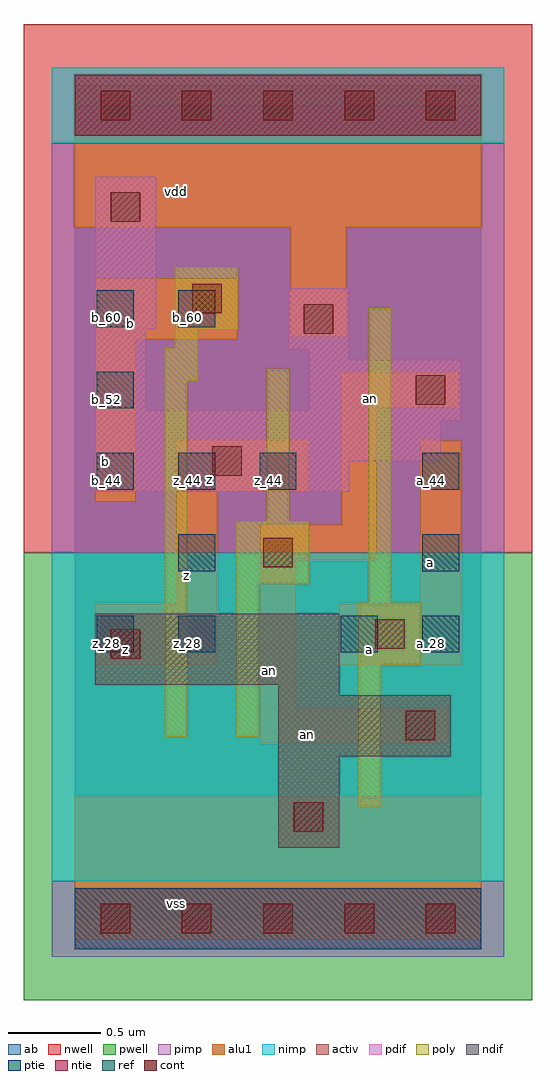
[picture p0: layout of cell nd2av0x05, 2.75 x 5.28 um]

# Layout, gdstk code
import gdstk
lib = gdstk.Library(unit=1e-6, precision=2.5e-09)
def R(c, l, rs):  # rectangles x0, y0, x1, y1
    for r in rs: c.add(gdstk.rectangle(r[:2], r[2:], *l))
def A(c, l, x, y, w, h, nx, ny, dx, dy):  # array of equal rectangles
    R(c, l, [(x+i*dx, y+j*dy, x+i*dx+w, y+j*dy+h) for i in range(nx) for j in range(ny)])
ndif = (3, 0)
pdif = (4, 0)
ntie = (5, 0)
ptie = (6, 0)
ref = (24, 0)
cont = (25, 0)
pwell = (41, 0)
nwell = (42, 0)
activ = (43, 0)
pimp = (44, 0)
nimp = (45, 0)
poly = (46, 0)
alu1 = (49, 0)
ab = (63, 0)

nd2av0x05 = lib.new_cell('nd2av0x05')
R(nd2av0x05, ndif, [(1.1,0.385,1.43,0.88), (1.1,0.88,2.035,1.21), (1.1,1.21,1.43,1.265), (0.11,1.265,1.43,1.65)])
R(nd2av0x05, pdif, [(0.11,2.31,1.485,2.475), (0.11,2.475,1.98,2.695), (0.11,2.695,2.09,2.75), (0.11,2.75,0.385,3.19), (1.265,2.75,2.09,3.025), (1.265,3.025,1.485,3.08), (1.155,3.08,1.485,3.41), (0.11,3.19,0.44,4.015)])
R(nd2av0x05, ntie, [(0,4.235,2.2,4.565)])
R(nd2av0x05, ptie, [(0,-0.165,2.2,0.165)])
A(nd2av0x05, ref, 1.88, 1.44, 0.2, 0.2, 1, 3, 0, 0.44)
A(nd2av0x05, ref, 0.12, 2.32, 0.2, 0.2, 3, 1, 0.44, 0)
R(nd2av0x05, ref, [(0.12,1.44,0.32,1.64), (0.56,1.44,0.76,1.64), (1.44,1.44,1.64,1.64), (0.56,1.88,0.76,2.08), (0.12,2.76,0.32,2.96), (0.12,3.2,0.32,3.4), (0.56,3.2,0.76,3.4)])
A(nd2av0x05, cont, 0.14, -0.08, 0.16, 0.16, 5, 2, 0.44, 4.4)
R(nd2av0x05, cont, [(1.185,0.47,1.345,0.63), (1.79,0.965,1.95,1.125), (0.195,1.405,0.355,1.565), (1.625,1.46,1.785,1.62), (1.02,1.9,1.18,2.06), (0.745,2.395,0.905,2.555), (1.845,2.78,2.005,2.94), (1.24,3.165,1.4,3.325), (0.635,3.275,0.795,3.435), (0.195,3.77,0.355,3.93)])
R(nd2av0x05, pwell, [(-0.275,-0.44,2.475,1.98)])
R(nd2av0x05, nwell, [(-0.275,1.98,2.475,4.84)])
R(nd2av0x05, activ, [(0,-0.165,2.2,0.165), (1.1,0.385,1.43,0.88), (1.1,0.88,2.035,1.21), (1.1,1.21,1.43,1.265), (0.11,1.265,1.43,1.65), (0.11,2.31,1.485,2.475), (0.11,2.475,1.98,2.695), (0.11,2.695,2.09,2.75), (0.11,2.75,0.385,3.19), (1.265,2.75,2.09,3.025), (1.265,3.025,1.485,3.08), (1.155,3.08,1.485,3.41), (0.11,3.19,0.44,4.015), (0,4.235,2.2,4.565)])
R(nd2av0x05, pimp, [(-0.125,-0.205,2.325,0.205), (-0.125,1.98,2.325,4.195)])
R(nd2av0x05, nimp, [(-0.125,0.205,2.325,1.98), (-0.125,4.195,2.325,4.605)])
R(nd2av0x05, poly, [(1.535,0.6,1.655,1.37), (0.49,0.985,0.61,2.91), (0.875,0.985,0.995,1.81), (1.535,1.37,1.875,1.71), (1.59,1.71,1.71,3.305), (0.875,1.81,1.27,2.15), (1.04,2.15,1.16,2.975), (0.49,2.91,0.665,3.085), (0.545,3.085,0.665,3.185), (0.545,3.185,0.885,3.525)])
R(nd2av0x05, alu1, [(0,-0.11,2.2,0.66), (1.005,0.95,2.02,1.14), (1.005,1.14,1.195,1.94), (0.11,1.375,0.77,1.705), (1.43,1.375,2.09,1.705), (0.55,1.705,0.77,2.31), (1.87,1.705,2.09,2.585), (1.005,1.94,1.635,2.13), (1.445,2.13,1.635,2.765), (0.11,2.255,0.33,3.135), (0.55,2.31,1.265,2.585), (1.445,2.765,2.075,2.955), (0.11,3.135,0.88,3.465), (1.17,3.15,1.47,3.74), (0,3.74,2.2,4.51)])
R(nd2av0x05, ab, [(0,0,2.2,4.4)])
nd2av0x05.add(gdstk.Label('vss', (0.55,0.0825), layer=49, texttype=0))
nd2av0x05.add(gdstk.Label('an', (1.2575,0.9975), layer=49, texttype=0))
nd2av0x05.add(gdstk.Label('a', (1.595,1.4575), layer=49, texttype=0))
nd2av0x05.add(gdstk.Label('a', (1.925,1.925), layer=49, texttype=0))
nd2av0x05.add(gdstk.Label('an', (1.0525,1.34), layer=49, texttype=0))
nd2av0x05.add(gdstk.Label('z', (0.275,1.4575), layer=49, texttype=0))
nd2av0x05.add(gdstk.Label('z', (0.605,1.855), layer=49, texttype=0))
nd2av0x05.add(gdstk.Label('z', (0.7275,2.3775), layer=49, texttype=0))
nd2av0x05.add(gdstk.Label('an', (1.6025,2.8125), layer=49, texttype=0))
nd2av0x05.add(gdstk.Label('b', (0.165,2.475), layer=49, texttype=0))
nd2av0x05.add(gdstk.Label('b', (0.3025,3.2175), layer=49, texttype=0))
nd2av0x05.add(gdstk.Label('vdd', (0.55,3.9325), layer=49, texttype=0))
nd2av0x05.add(gdstk.Label('z_28', (0.61,1.49), layer=24, texttype=0))
nd2av0x05.add(gdstk.Label('z_36', (0.61,1.93), layer=24, texttype=0))
nd2av0x05.add(gdstk.Label('z_44', (0.61,2.37), layer=24, texttype=0))
nd2av0x05.add(gdstk.Label('b_60', (0.61,3.25), layer=24, texttype=0))
nd2av0x05.add(gdstk.Label('z_44', (1.05,2.37), layer=24, texttype=0))
nd2av0x05.add(gdstk.Label('a_28', (1.49,1.49), layer=24, texttype=0))
nd2av0x05.add(gdstk.Label('a_28', (1.93,1.49), layer=24, texttype=0))
nd2av0x05.add(gdstk.Label('a_36', (1.93,1.93), layer=24, texttype=0))
nd2av0x05.add(gdstk.Label('a_44', (1.93,2.37), layer=24, texttype=0))
nd2av0x05.add(gdstk.Label('z_28', (0.17,1.49), layer=24, texttype=0))
nd2av0x05.add(gdstk.Label('b_44', (0.17,2.37), layer=24, texttype=0))
nd2av0x05.add(gdstk.Label('b_52', (0.17,2.81), layer=24, texttype=0))
nd2av0x05.add(gdstk.Label('b_60', (0.17,3.25), layer=24, texttype=0))

lib.write_gds('nd2av0x05.gds')
